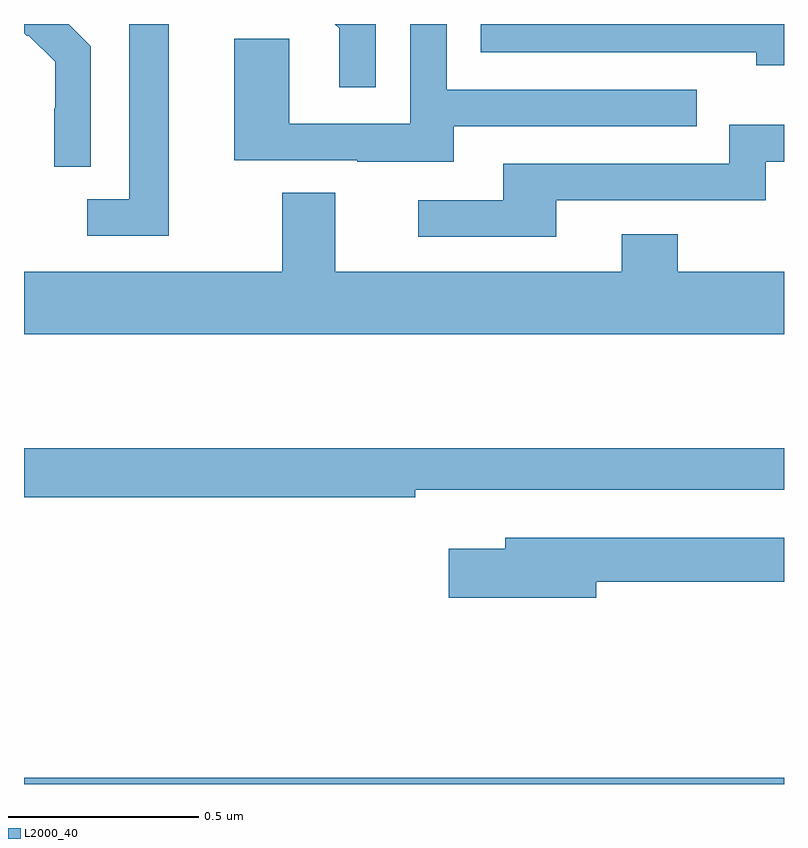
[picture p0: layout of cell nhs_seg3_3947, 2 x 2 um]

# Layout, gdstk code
import gdstk
lib = gdstk.Library(unit=1e-6, precision=1e-09)
def R(c, l, rs):  # rectangles x0, y0, x1, y1
    for r in rs: c.add(gdstk.rectangle(r[:2], r[2:], *l))
def P(c, l, *ps):  # polygons
    for p in ps: c.add(gdstk.Polygon(p, *l))
L2000_40 = (2000, 40)

nhs_seg3_3947 = lib.new_cell('nhs_seg3_3947')
R(nhs_seg3_3947, L2000_40, [(160,698.4,162,698.416)])
P(nhs_seg3_3947, L2000_40, [(160.176,700.342),(160.118,700.4),(160,700.4),(160,700.376),(160.008,700.368),(160.011,700.371),(160.082,700.301),(160.082,700.178),(160.08,700.178),(160.08,700.024),(160.176,700.024)],
  [(162,700.4),(161.202,700.4),(161.202,700.326),(161.927,700.326),(161.927,700.292),(162,700.292)],
  [(161.131,700.131),(161.771,700.131),(161.771,700.227),(161.112,700.227),(161.112,700.4),(161.016,700.4),(161.016,700.137),(160.698,700.137),(160.698,700.361),(160.553,700.361),(160.553,700.041),(160.877,700.041),(160.877,700.037),(161.131,700.037)],
  [(160.381,700.4),(160.277,700.4),(160.277,699.939),(160.167,699.939),(160.167,699.843),(160.381,699.843)],
  [(160.926,700.4),(160.818,700.4),(160.829,700.389),(160.829,700.233),(160.926,700.233)],
  [(161.401,699.936),(161.952,699.936),(161.952,700.038),(162,700.038),(162,700.135),(161.856,700.135),(161.856,700.032),(161.261,700.032),(161.261,699.936),(161.037,699.936),(161.037,699.84),(161.401,699.84)],
  [(162,699.748),(161.721,699.748),(161.721,699.847),(161.573,699.847),(161.573,699.748),(160.819,699.748),(160.819,699.956),(160.679,699.956),(160.679,699.748),(160,699.748),(160,699.584),(162,699.584)],
  [(161.03,699.174),(162,699.174),(162,699.283),(160,699.283),(160,699.154),(161.03,699.154)],
  [(161.506,698.932),(162,698.932),(162,699.048),(161.267,699.048),(161.267,699.019),(161.118,699.019),(161.118,698.89),(161.506,698.89)])

lib.write_gds('nhs_seg3_3947.gds')
